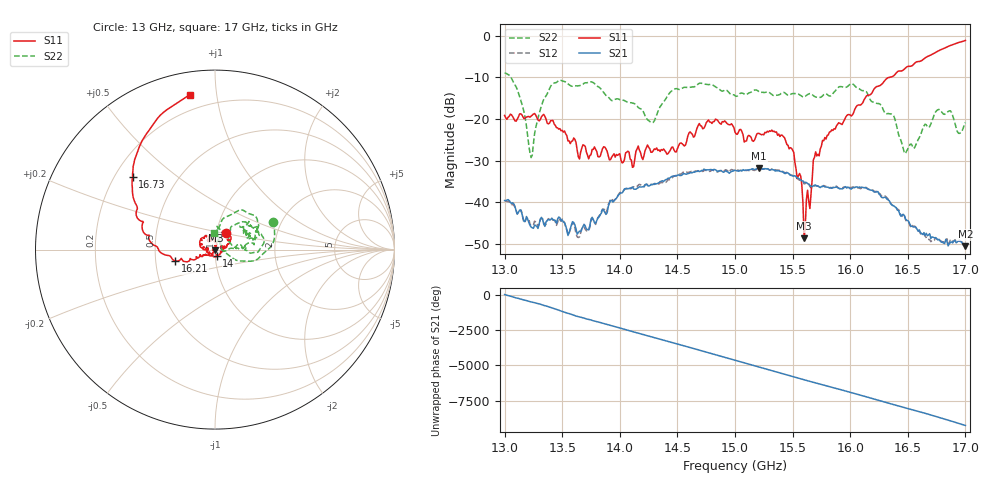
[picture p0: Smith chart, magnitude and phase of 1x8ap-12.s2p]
!Keysight Technologies,P9374A,MY57211807,A.19.30.04
!Date: Friday, May 08, 2026 15:39:56
!Correction: S11(C  2-Port  )
!S21(C  2-Port  )
!S12(C  2-Port  )
!S22(C  2-Port  )
!S2P File: Measurements: S11, S21, S12, S22:
# Hz S  dB  R 50
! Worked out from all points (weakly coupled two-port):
!   401 points, 13 GHz to 17 GHz, reference 50 ohm
!   highest |S21| = -31.85 dB at 15.21 GHz (marker M1); lowest = -50.5 dB at 17 GHz (marker M2)
!   lowest |S11| = -48.6 dB at 15.6 GHz (marker M3), VSWR 1.01, Z = 50.2 - j0.311 ohm
!   |S11| at or under -10 dB: start of sweep to 16.34 GHz
!   |S22| runs from -29.2 to -8.9 dB; largest |S21 - S12| = 0.0017
!   S11 on the Smith chart (normalised r, x): 13 GHz: 1.12, +0.20; 14 GHz: 1.02, -0.08; 16.21 GHz: 0.63, -0.08; 16.73 GHz: 0.27, +0.35; 17 GHz: 0.12, +0.84
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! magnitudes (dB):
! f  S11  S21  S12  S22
! 13 GHz  -19.1  -39.5  -39.6  -8.9
! 13.12 GHz  -19.5  -42.4  -42.3  -13.7
! 13.23 GHz  -19.3  -45.9  -45.3  -29.2
! 13.41 GHz  -20.4  -43.8  -43.9  -11.8
! 13.67 GHz  -27.0  -46.3  -46.4  -11.8
! 14 GHz  -28.3  -37.9  -37.6  -15.4
! 14.27 GHz  -28.0  -35.7  -35.6  -20.8
! 14.34 GHz  -27.4  -35.3  -35.6  -17.6
! 14.7 GHz  -21.6  -32.5  -32.5  -11.4
! 15 GHz  -23.1  -32.3  -32.1  -14.4
! 15.21 GHz  -23.5  -31.8  -32.0  -13.5
! 15.49 GHz  -27.0  -33.5  -33.5  -14.0
! 15.6 GHz  -48.6  -35.2  -35.5  -14.7
! 15.67 GHz  -34.5  -36.2  -36.4  -14.1
! 15.7 GHz  -27.8  -35.8  -35.9  -14.7
! 15.78 GHz  -24.4  -36.2  -36.1  -14.0
! 16.02 GHz  -19.0  -36.5  -36.3  -11.6
! 16.21 GHz  -12.7  -37.5  -37.4  -16.1
! 16.34 GHz  -10.0  -39.6  -39.5  -18.7
! 16.48 GHz  -7.7  -44.0  -44.0  -28.3
! 16.73 GHz  -4.2  -48.4  -49.1  -18.9
! 17 GHz  -1.2  -50.5  -50.2  -20.8
